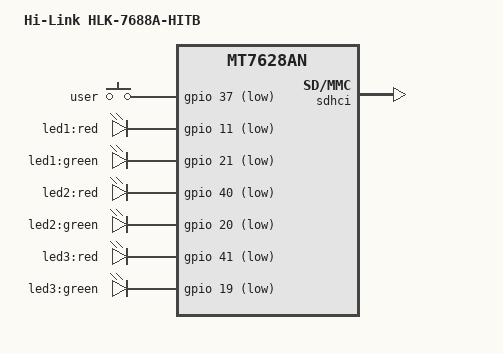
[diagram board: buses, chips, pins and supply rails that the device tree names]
// SPDX-License-Identifier: GPL-2.0-or-later OR MIT

#include "mt7628an_hilink_hlk-7688a.dts"

/ {
	compatible = "hilink,hlk-7688a", "mediatek,mt7628an-soc";
	model = "Hi-Link HLK-7688A-HITB";

	keys {
		compatible = "gpio-keys";

		user {
			label = "user";
			gpios = <&gpio 37 GPIO_ACTIVE_LOW>;
		};
	};

	leds {
		compatible = "gpio-leds";

		led_user_1_red: user_1_red {
			label = "led1:red";
			gpios = <&gpio 11 GPIO_ACTIVE_LOW>;
		};

		led_user_1_green: user_1_green {
			label = "led1:green";
			gpios = <&gpio 21 GPIO_ACTIVE_LOW>;
		};

		led_user_2_red: user_2_red {
			label = "led2:red";
			gpios = <&gpio 40 GPIO_ACTIVE_LOW>;
		};

		led_user_2_green: user_2_green {
			label = "led2:green";
			gpios = <&gpio 20 GPIO_ACTIVE_LOW>;
		};

		led_user_3_red: user_3_red {
			label = "led3:red";
			gpios = <&gpio 41 GPIO_ACTIVE_LOW>;
		};

		led_user_3_green: user_3_green {
			label = "led3:green";
			gpios = <&gpio 19 GPIO_ACTIVE_LOW>;
		};
	};
};

&state_default {
	gpio {
		groups = "wdt", "wled_an", "p2led_an", "p3led_an", "uart2", "refclk";
		function = "gpio";
	};
};

&sdhci {
	status = "okay";
};

